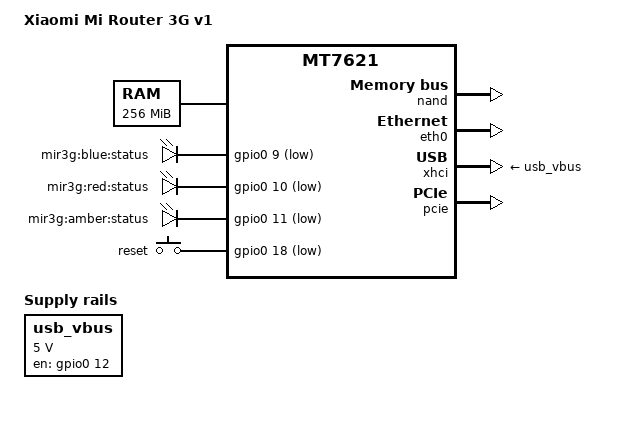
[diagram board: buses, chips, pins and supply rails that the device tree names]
/dts-v1/;

#include "mt7621.dtsi"

#include <dt-bindings/gpio/gpio.h>
#include <dt-bindings/input/input.h>

/ {
	compatible = "xiaomi,mi-router-3g", "mediatek,mt7621-soc";
	model = "Xiaomi Mi Router 3G v1";

	aliases {
		led-boot = &led_status_amber;
		led-failsafe = &led_status_red;
		led-running = &led_status_blue;
		led-upgrade = &led_status_amber;
	};

	chosen {
		bootargs = "console=ttyS0,115200";
	};

	memory@0 {
		device_type = "memory";
		reg = <0x0 0x10000000>; /* 256MB DDR3 RAM */
	};

	leds {
		compatible = "gpio-leds";

		led_status_blue: status_blue {
			label = "mir3g:blue:status";
			gpios = <&gpio0 9 GPIO_ACTIVE_LOW>;
		};

		led_status_red: status_red {
			label = "mir3g:red:status";
			gpios = <&gpio0 10 GPIO_ACTIVE_LOW>;
		};

		led_status_amber: status_amber {
			label = "mir3g:amber:status";
			gpios = <&gpio0 11 GPIO_ACTIVE_LOW>;
		};
	};

	keys {
		compatible = "gpio-keys-polled";
		poll-interval = <20>;

		reset {
			label = "reset";
			gpios = <&gpio0 18 GPIO_ACTIVE_LOW>;
			linux,code = <KEY_RESTART>;
		};
	};

	usb_vbus: regulator {
		compatible = "regulator-fixed";
		regulator-name = "usb_vbus";
		regulator-min-microvolt = <5000000>;
		regulator-max-microvolt = <5000000>;
		gpio = <&gpio0 12 GPIO_ACTIVE_HIGH>;
		enable-active-high;
	};
};

&nand {
	status = "okay";

	partition@0 {
		label = "Bootloader";
		reg = <0x0 0x80000>;
		read-only;
	};

	partition@80000 {
		label = "NVRAM";
		reg = <0x80000 0x40000>;
	};

	partition@c0000 {
		label = "BcnInitCode";
		reg = <0xc0000 0x40000>;
		read-only;
	};

	factory: partition@100000 {
		label = "Factory";
		reg = <0x100000 0x80000>;
		read-only;
	};

	partition@180000 {
		label = "firmware";
		reg = <0x180000 0x2000000>;
	};

	partition@2180000 {
		label = "kernel2";
		reg = <0x2180000 0x2000000>;
	};

	partition@4180000 {
		label = "rootfs2";
		reg = <0x4180000 0x3e00000>;
	};
};

&eth0 {
	status = "okay";
};

&xhci {
	status = "okay";
	vbus-supply = <&usb_vbus>;
};

&pinctrl {
	state_default: pinctrl0 {
		gpio {
			ralink,group = "i2c", "uart2", "uart3", "rgmii2";
			ralink,function = "gpio";
		};
	};
};

&pcie {
	status = "okay";
};
